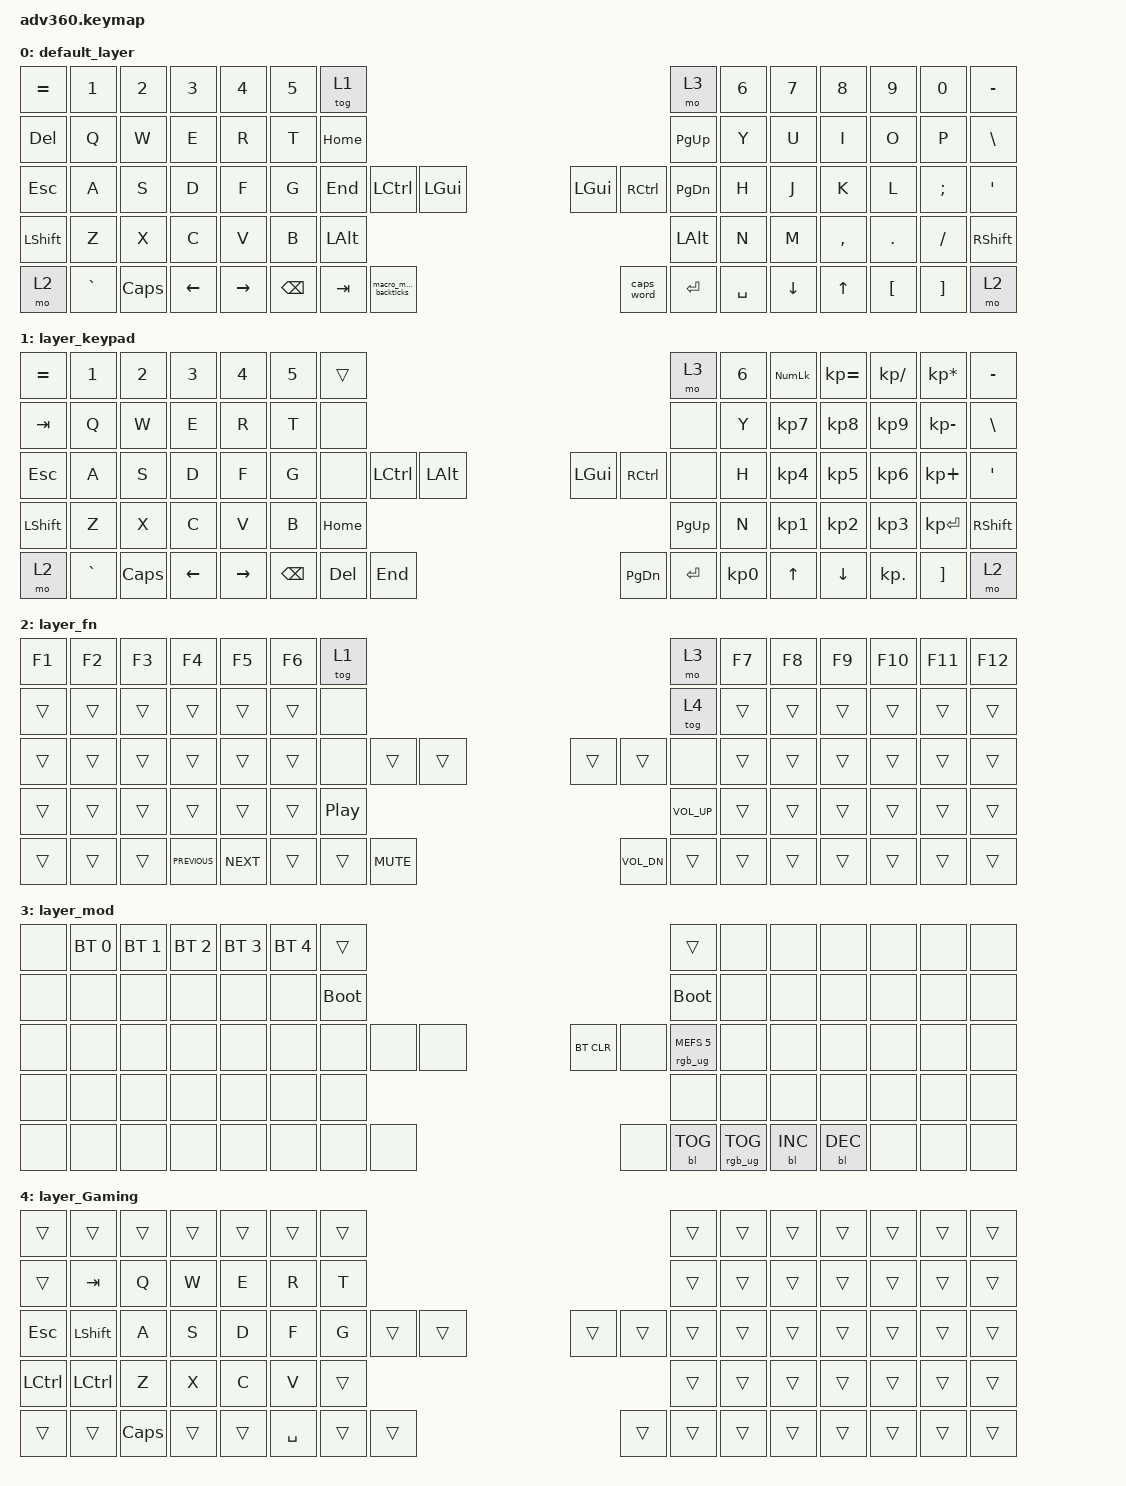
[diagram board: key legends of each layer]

/*
 * Copyright (c) 2020 The ZMK Contributors
 *
 * SPDX-License-Identifier: MIT
 */


/* THIS FILE WAS GENERATED!
 *
 * This file was generated automatically. You may or may not want to
 * edit it directly.
 */

#include <behaviors.dtsi>
#include <dt-bindings/zmk/keys.h>
#include <dt-bindings/zmk/bt.h>
#include <dt-bindings/zmk/rgb.h>
#include <dt-bindings/zmk/backlight.h>

/ {
  behaviors {
    #include "macros.dtsi"
    #include "version.dtsi"

    hm: homerow_mods {
        compatible = "zmk,behavior-hold-tap";
        label = "HOMEROW_MODS";
        #binding-cells = <2>;
        tapping-term-ms = <200>;
        quick_tap_ms = <175>;
        flavor = "tap-preferred";
        bindings = <&kp>, <&kp>;
    };
  };

    keymap {
        compatible = "zmk,keymap";


        default_layer {
            bindings = <
 &kp EQUAL     &kp N1    &kp N2    &kp N3     &kp N4  &kp N5              &tog 1                                                                                      &mo 3  &kp N6    &kp N7     &kp N8    &kp N9    &kp N0  &kp MINUS
   &kp DEL      &kp Q     &kp W     &kp E      &kp R   &kp T            &kp HOME                                                                                &kp PAGE_UP   &kp Y     &kp U      &kp I     &kp O     &kp P   &kp BSLH
   &kp ESC      &kp A     &kp S     &kp D      &kp F   &kp G             &kp END  &kp LCTRL                &kp LGUI                      &kp LGUI  &kp RCTRL  &kp PAGE_DOWN   &kp H     &kp J      &kp K     &kp L  &kp SEMI    &kp SQT
 &kp LSHFT      &kp Z     &kp X     &kp C      &kp V   &kp B                                           &kp LEFT_ALT                  &kp LEFT_ALT                             &kp N     &kp M  &kp COMMA   &kp DOT  &kp FSLH  &kp RSHFT
     &mo 2  &kp GRAVE  &kp CAPS  &kp LEFT  &kp RIGHT                    &kp BSPC    &kp TAB  &macro_macro_backticks                    &caps_word  &kp ENTER      &kp SPACE          &kp DOWN     &kp UP  &kp LBKT  &kp RBKT      &mo 2
            >;
        };

        layer_keypad {
            bindings = <
 &kp EQUAL     &kp N1    &kp N2    &kp N3     &kp N4  &kp N5              &trans                                                                 &mo 3  &kp N6  &kp KP_NUM  &kp KP_EQUAL  &kp KP_DIVIDE  &kp KP_MULTIPLY  &kp MINUS
   &kp TAB      &kp Q     &kp W     &kp E      &kp R   &kp T               &none                                                                 &none   &kp Y   &kp KP_N7     &kp KP_N8      &kp KP_N9     &kp KP_MINUS   &kp BSLH
   &kp ESC      &kp A     &kp S     &kp D      &kp F   &kp G               &none  &kp LCTRL  &kp LALT                   &kp LGUI  &kp RCTRL      &none   &kp H   &kp KP_N4     &kp KP_N5      &kp KP_N6      &kp KP_PLUS    &kp SQT
 &kp LSHFT      &kp Z     &kp X     &kp C      &kp V   &kp B                                 &kp HOME                  &kp PG_UP                         &kp N   &kp KP_N1     &kp KP_N2      &kp KP_N3     &kp KP_ENTER  &kp RSHFT
     &mo 2  &kp GRAVE  &kp CAPS  &kp LEFT  &kp RIGHT                    &kp BSPC    &kp DEL   &kp END                  &kp PG_DN  &kp ENTER  &kp KP_N0              &kp UP      &kp DOWN     &kp KP_DOT         &kp RBKT      &mo 2
            >;
        };

        layer_fn {
            bindings = <
 &kp F1  &kp F2  &kp F3          &kp F4      &kp F5  &kp F6            &tog 1                                                                   &mo 3  &kp F7  &kp F8  &kp F9  &kp F10  &kp F11  &kp F12
 &trans  &trans  &trans          &trans      &trans  &trans             &none                                                                  &tog 4  &trans  &trans  &trans   &trans   &trans   &trans
 &trans  &trans  &trans          &trans      &trans  &trans             &none  &trans            &trans                        &trans  &trans   &none  &trans  &trans  &trans   &trans   &trans   &trans
 &trans  &trans  &trans          &trans      &trans  &trans                            &kp C_PLAY_PAUSE                  &kp C_VOL_UP                  &trans  &trans  &trans   &trans   &trans   &trans
 &trans  &trans  &trans  &kp C_PREVIOUS  &kp C_NEXT                    &trans  &trans        &kp C_MUTE                  &kp C_VOL_DN  &trans  &trans          &trans  &trans   &trans   &trans   &trans
            >;
        };

        layer_mod {
            bindings = <
  &none  &bt BT_SEL 0  &bt BT_SEL 1  &bt BT_SEL 2  &bt BT_SEL 3  &bt BT_SEL 4                 &trans                                                                          &trans   &none       &none       &none   &none   &none   &none
  &none         &none         &none         &none         &none         &none            &bootloader                                                                     &bootloader   &none       &none       &none   &none   &none   &none
  &none         &none         &none         &none         &none         &none                  &none   &none   &none                  &bt BT_CLR       &none  &rgb_ug RGB_MEFS_CMD 5   &none       &none       &none   &none   &none   &none
  &none         &none         &none         &none         &none         &none                                  &none                       &none                                       &none       &none       &none   &none   &none   &none
  &none         &none         &none         &none         &none                                &none   &none   &none                       &none  &bl BL_TOG         &rgb_ug RGB_TOG          &bl BL_INC  &bl BL_DEC   &none   &none   &none
            >;
        };

        layer_Gaming {
            bindings = <
     &trans      &trans        &trans  &trans  &trans  &trans               &trans                                                  &trans  &trans  &trans  &trans  &trans  &trans  &trans
     &trans     &kp TAB         &kp Q   &kp W   &kp E   &kp R                &kp T                                                  &trans  &trans  &trans  &trans  &trans  &trans  &trans
 &kp ESCAPE  &kp LSHIFT         &kp A   &kp S   &kp D   &kp F                &kp G  &trans  &trans                  &trans  &trans  &trans  &trans  &trans  &trans  &trans  &trans  &trans
  &kp LCTRL   &kp LCTRL         &kp Z   &kp X   &kp C   &kp V                               &trans                  &trans                  &trans  &trans  &trans  &trans  &trans  &trans
     &trans      &trans  &kp CAPSLOCK  &trans  &trans                    &kp SPACE  &trans  &trans                  &trans  &trans  &trans          &trans  &trans  &trans  &trans  &trans
            >;
        };

    };
};
